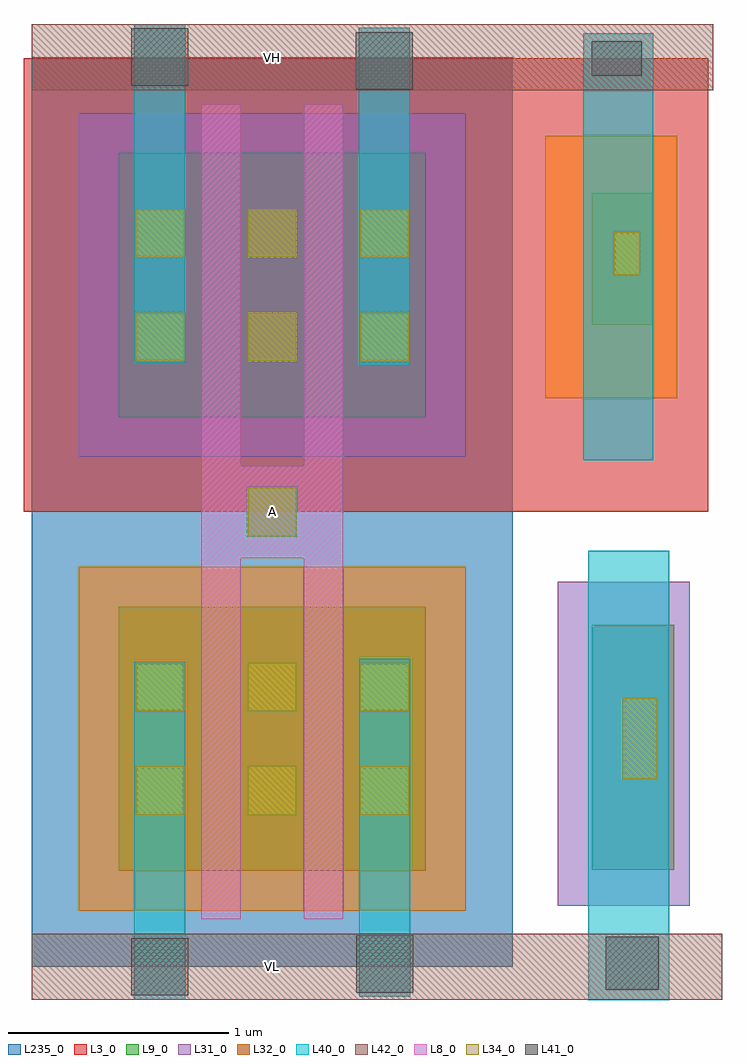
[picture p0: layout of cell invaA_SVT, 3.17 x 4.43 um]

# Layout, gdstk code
import gdstk
lib = gdstk.Library(unit=1e-6, precision=1e-09)
def R(c, l, rs):  # rectangles x0, y0, x1, y1
    for r in rs: c.add(gdstk.rectangle(r[:2], r[2:], *l))
def A(c, l, x, y, w, h, nx, ny, dx, dy):  # array of equal rectangles
    R(c, l, [(x+i*dx, y+j*dy, x+i*dx+w, y+j*dy+h) for i in range(nx) for j in range(ny)])
L3_0 = (3, 0)
L8_0 = (8, 0)
L9_0 = (9, 0)
L31_0 = (31, 0)
L32_0 = (32, 0)
L34_0 = (34, 0)
L40_0 = (40, 0)
L41_0 = (41, 0)
L42_0 = (42, 0)
L235_0 = (235, 0)

invaa_svt = lib.new_cell('invaA_SVT')
R(invaa_svt, L3_0, [(-0.43,-0.43,2.677,1.63)])
R(invaa_svt, L8_0, [(0.375,-2.28,0.555,1.42), (0.84,-2.28,1.02,1.42), (0.487,-0.64,0.907,-0.22)])
R(invaa_svt, L9_0, [(0,-2.06,1.395,-0.86), (2.148,-2.055,2.522,-0.942), (0,0,1.395,1.2), (2.148,0.42,2.428,1.02)])
R(invaa_svt, L31_0, [(1.993,-2.218,2.592,-0.747), (-0.18,-0.18,1.575,1.38)])
R(invaa_svt, L32_0, [(-0.18,-2.24,1.575,-0.68), (1.938,0.086,2.537,1.277)])
A(invaa_svt, L34_0, 0.588, -1.335, 0.219, 0.22, 1, 3, 0, 0.795)
R(invaa_svt, L34_0, [(0.077,-1.805,0.297,-1.585), (0.588,-1.805,0.807,-1.585), (1.097,-1.805,1.317,-1.585), (2.288,-1.642,2.444,-1.277), (0.077,-1.335,0.297,-1.115), (1.097,-1.335,1.317,-1.115), (0.077,0.255,0.297,0.475), (1.097,0.255,1.317,0.475), (2.249,0.646,2.366,0.841), (0.077,0.725,0.297,0.945), (0.588,0.725,0.807,0.945), (1.097,0.725,1.317,0.945)])
R(invaa_svt, L40_0, [(2.133,-2.646,2.499,-0.607), (0.072,-2.645,0.302,-1.11), (1.093,-2.632,1.323,-1.097), (0.582,-0.545,0.812,-0.315), (2.109,-0.195,2.428,1.744), (1.091,0.233,1.321,1.768), (0.072,0.25,0.302,1.785)])
R(invaa_svt, L41_0, [(0.057,-2.625,0.317,-2.365), (1.078,-2.612,1.338,-2.352), (2.211,-2.6,2.452,-2.358), (1.076,1.488,1.336,1.748), (0.057,1.505,0.317,1.765), (2.148,1.55,2.375,1.706)])
R(invaa_svt, L42_0, [(-0.395,-2.645,2.74,-2.345), (-0.395,1.485,2.699,1.785)])
R(invaa_svt, L235_0, [(-0.395,-2.495,1.79,1.635)])
invaa_svt.add(gdstk.Label('VH', (0.697,1.635), layer=63, texttype=0))
invaa_svt.add(gdstk.Label('VL', (0.697,-2.495), layer=63, texttype=0))
invaa_svt.add(gdstk.Label('A', (0.697,-0.43), layer=63, texttype=0))

lib.write_gds('invaA_SVT.gds')
